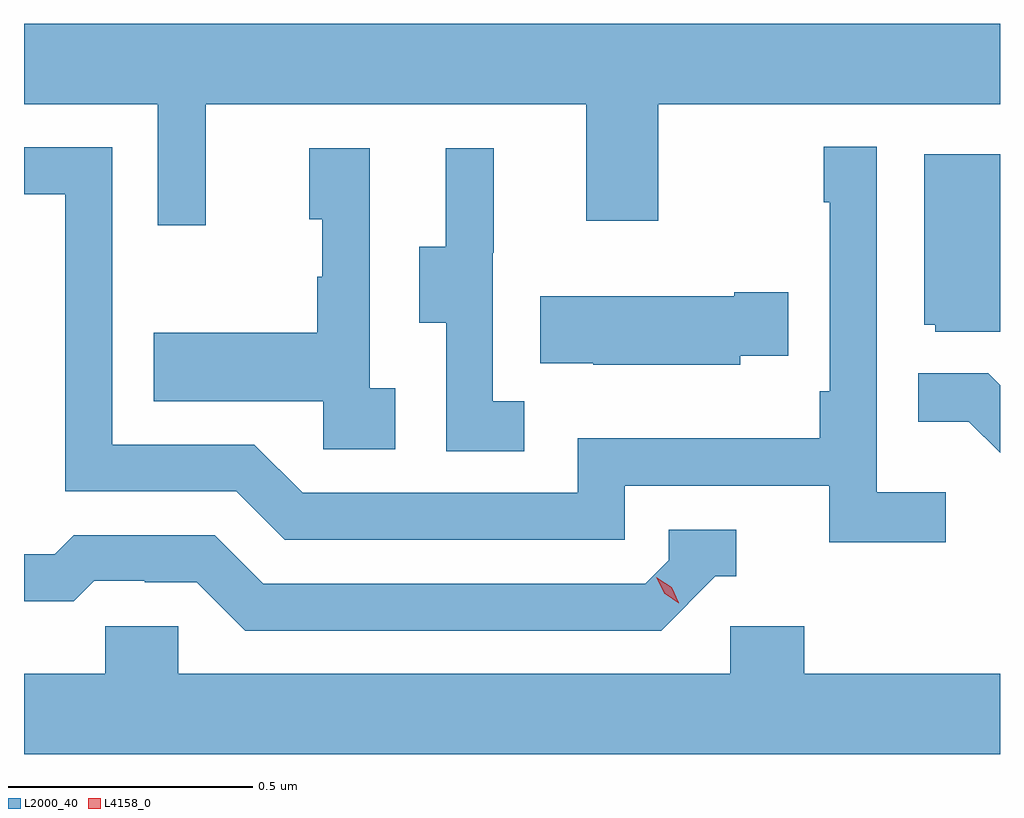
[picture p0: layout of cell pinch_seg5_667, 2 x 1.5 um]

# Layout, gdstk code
import gdstk
lib = gdstk.Library(unit=1e-6, precision=1e-09)
def P(c, l, *ps):  # polygons
    for p in ps: c.add(gdstk.Polygon(p, *l))
L2000_40 = (2000, 40)
L4158_0 = (4158, 0)

pinch_seg5_667 = lib.new_cell('pinch_seg5_667')
P(pinch_seg5_667, L2000_40, [(1065.413,843.44),(1066.193,843.44),(1066.193,843.201),(1066.341,843.201),(1066.341,843.44),(1067.041,843.44),(1067.041,843.604),(1065.041,843.604),(1065.041,843.44),(1065.315,843.44),(1065.315,843.192),(1065.413,843.192)],
  [(1066.93,842.644),(1066.788,842.644),(1066.788,843.352),(1066.68,843.352),(1066.68,843.239),(1066.692,843.239),(1066.692,842.851),(1066.672,842.851),(1066.672,842.755),(1066.176,842.755),(1066.176,842.643),(1065.612,842.643),(1065.513,842.742),(1065.222,842.742),(1065.222,843.351),(1065.041,843.351),(1065.041,843.255),(1065.126,843.255),(1065.126,842.646),(1065.476,842.646),(1065.575,842.547),(1066.272,842.547),(1066.272,842.658),(1066.691,842.658),(1066.691,842.542),(1066.93,842.542)],
  [(1065.802,842.858),(1065.75,842.858),(1065.75,843.349),(1065.626,843.349),(1065.626,843.204),(1065.652,843.204),(1065.652,843.086),(1065.642,843.086),(1065.642,842.971),(1065.307,842.971),(1065.307,842.831),(1065.654,842.831),(1065.654,842.733),(1065.802,842.733)],
  [(1066.066,842.831),(1066.002,842.831),(1066.002,843.135),(1066.004,843.135),(1066.004,843.349),(1065.905,843.349),(1065.905,843.147),(1065.851,843.147),(1065.851,842.992),(1065.906,842.992),(1065.906,842.728),(1066.066,842.728)],
  [(1067.041,843.337),(1066.886,843.337),(1066.886,842.988),(1066.908,842.988),(1066.908,842.973),(1067.041,842.973)],
  [(1066.509,842.924),(1066.607,842.924),(1066.607,843.054),(1066.496,843.054),(1066.496,843.046),(1066.099,843.046),(1066.099,842.909),(1066.207,842.909),(1066.207,842.906),(1066.509,842.906)],
  [(1067.041,842.864),(1067.017,842.888),(1066.873,842.888),(1066.873,842.789),(1066.977,842.789),(1067.041,842.725)],
  [(1066.458,842.472),(1066.501,842.472),(1066.501,842.568),(1066.362,842.568),(1066.362,842.505),(1066.314,842.457),(1065.531,842.457),(1065.432,842.556),(1065.143,842.556),(1065.104,842.517),(1065.041,842.517),(1065.041,842.421),(1065.143,842.421),(1065.185,842.463),(1065.288,842.463),(1065.288,842.46),(1065.395,842.46),(1065.494,842.361),(1066.347,842.361)],
  [(1067.041,842.272),(1066.64,842.272),(1066.64,842.37),(1066.488,842.37),(1066.488,842.272),(1065.357,842.272),(1065.357,842.37),(1065.207,842.37),(1065.207,842.272),(1065.041,842.272),(1065.041,842.108),(1067.041,842.108)])
P(pinch_seg5_667, L4158_0, [(1066.383,842.417),(1066.353,842.437),(1066.337,842.47),(1066.337,842.47),(1066.337,842.47),(1066.368,842.45),(1066.383,842.418),(1066.383,842.417)])

lib.write_gds('pinch_seg5_667.gds')
